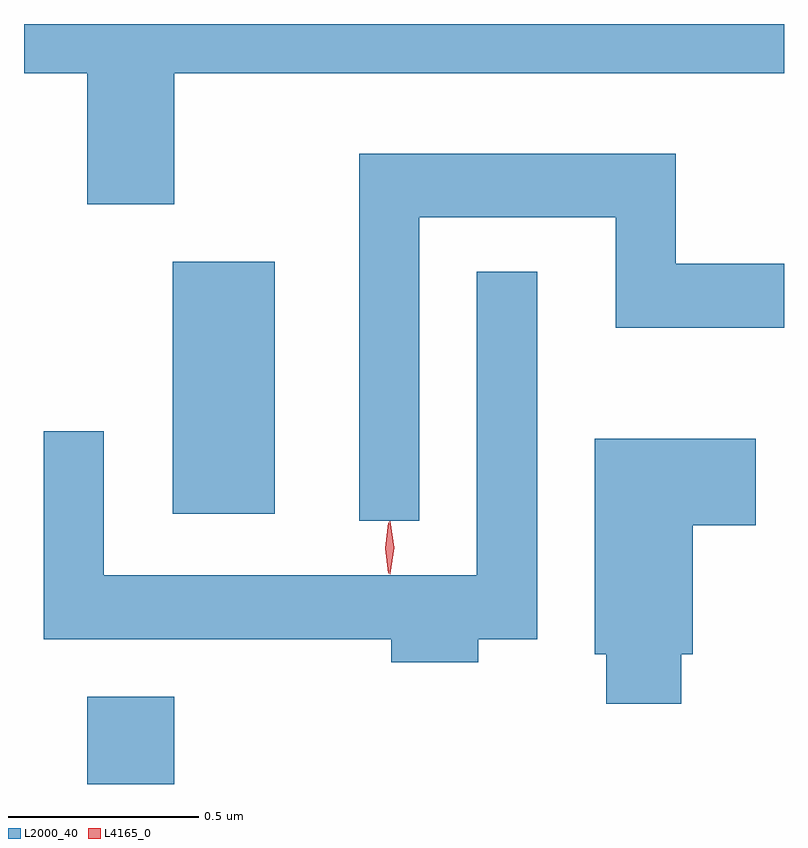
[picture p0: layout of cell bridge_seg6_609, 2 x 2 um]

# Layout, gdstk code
import gdstk
lib = gdstk.Library(unit=1e-6, precision=1e-09)
def R(c, l, rs):  # rectangles x0, y0, x1, y1
    for r in rs: c.add(gdstk.rectangle(r[:2], r[2:], *l))
def P(c, l, *ps):  # polygons
    for p in ps: c.add(gdstk.Polygon(p, *l))
L2000_40 = (2000, 40)
L4165_0 = (4165, 0)

bridge_seg6_609 = lib.new_cell('bridge_seg6_609')
R(bridge_seg6_609, L2000_40, [(499.201,1632.525,499.429,1632.754), (499.426,1633.236,499.694,1633.899)])
P(bridge_seg6_609, L2000_40, [(499.429,1634.396),(501.034,1634.396),(501.034,1634.525),(499.034,1634.525),(499.034,1634.396),(499.201,1634.396),(499.201,1634.051),(499.429,1634.051)],
  [(500.074,1634.016),(500.591,1634.016),(500.591,1633.726),(501.034,1633.726),(501.034,1633.894),(500.749,1633.894),(500.749,1634.184),(499.916,1634.184),(499.916,1633.218),(500.074,1633.218)],
  [(500.229,1632.906),(500.384,1632.906),(500.384,1633.873),(500.226,1633.873),(500.226,1633.074),(499.244,1633.074),(499.244,1633.453),(499.086,1633.453),(499.086,1632.906),(500.001,1632.906),(500.001,1632.846),(500.229,1632.846)],
  [(500.764,1632.866),(500.794,1632.866),(500.794,1633.206),(500.959,1633.206),(500.959,1633.434),(500.536,1633.434),(500.536,1632.866),(500.566,1632.866),(500.566,1632.736),(500.764,1632.736)])
P(bridge_seg6_609, L4165_0, [(499.994,1633.079),(499.993,1633.08),(499.984,1633.146),(499.993,1633.212),(499.994,1633.213),(499.994,1633.212),(500.004,1633.146),(499.994,1633.08)],
  [(499.998,1633.077),(499.997,1633.078),(499.988,1633.147),(499.997,1633.216),(499.997,1633.216),(499.998,1633.216),(500.008,1633.147),(499.998,1633.078)])

lib.write_gds('bridge_seg6_609.gds')
